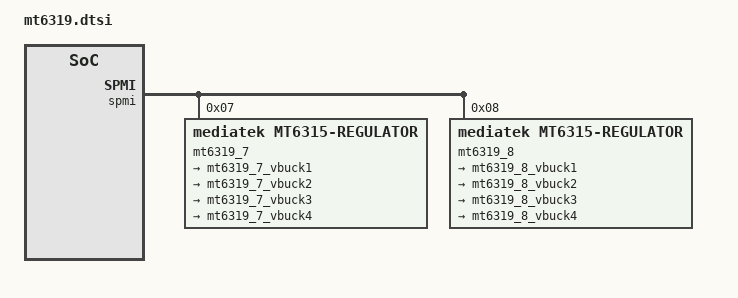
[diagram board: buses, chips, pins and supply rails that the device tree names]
// SPDX-License-Identifier: (GPL-2.0 OR MIT)
/*
 * Copyright (c) 2025 MediaTek Inc.
 */
#include <dt-bindings/iio/mt635x-auxadc.h>
#include <dt-bindings/spmi/spmi.h>

&spmi {
	mt6319_7: mt6319@7 {
		compatible = "mediatek,mt6315-regulator";
		buck1-modeset-mask = <0x3>;
		reg = <0x7 SPMI_USID>;

		regulators {
			mt6319_7_vbuck1: vbuck1 {
				regulator-name = "vbuck1";
				regulator-allowed-modes = <0 1 2>;
				regulator-always-on;
			};
			mt6319_7_vbuck2: vbuck2 {
				regulator-name = "vbuck2";
				regulator-allowed-modes = <0 1 2>;
				regulator-always-on;
			};
			mt6319_7_vbuck3: vbuck3 {
				regulator-name = "vbuck3";
				regulator-allowed-modes = <0 1 2>;
				regulator-always-on;
			};
			mt6319_7_vbuck4: vbuck4 {
				regulator-name = "vbuck4";
				regulator-allowed-modes = <0 1 2>;
				regulator-always-on;
			};
		};
	};

	mt6319_8: mt6319@8 {
		compatible = "mediatek,mt6315-regulator";
		buck1-modeset-mask = <0xb>;
		reg = <0x8 SPMI_USID>;

		regulators {
			mt6319_8_vbuck1: vbuck1 {
				regulator-name = "vbuck1";
				regulator-allowed-modes = <0 1 2>;
				regulator-always-on;
			};
			mt6319_8_vbuck2: vbuck2 {
				regulator-name = "vbuck2";
				regulator-allowed-modes = <0 1 2>;
				regulator-always-on;
			};
			mt6319_8_vbuck3: vbuck3 {
				regulator-name = "vbuck3";
				regulator-allowed-modes = <0 1 2>;
				regulator-always-on;
			};
			mt6319_8_vbuck4: vbuck4 {
				regulator-name = "vbuck4";
				regulator-allowed-modes = <0 1 2>;
				regulator-always-on;
			};
		};
	};
};

